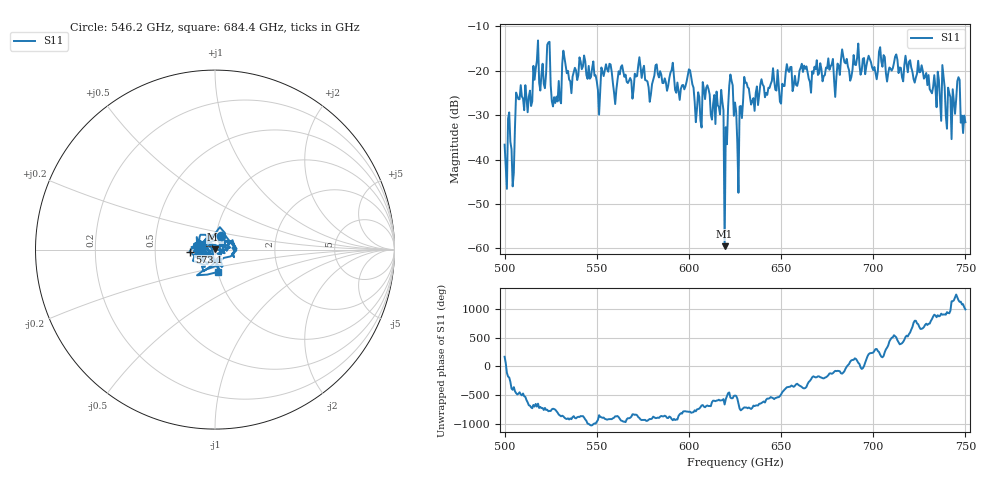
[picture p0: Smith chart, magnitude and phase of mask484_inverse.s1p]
!Created with skrf (http://scikit-rf.org).
# GHz S MA R 50.0
!freq magS11 angS11
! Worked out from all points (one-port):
!   401 points, 500 GHz to 750 GHz, reference 50 ohm
!   lowest |S11| = -59.5 dB at 619.4 GHz (marker M1), VSWR 1.00, Z = 50.1 + j0.0909 ohm
!   |S11| at or under -10 dB: start of sweep to end of sweep
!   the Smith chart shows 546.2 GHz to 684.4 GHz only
!   S11 on the Smith chart (normalised r, x): 546.2 GHz: 1.05, +0.16; 573.1 GHz: 0.75, -0.02; 684.4 GHz: 1.00, -0.25
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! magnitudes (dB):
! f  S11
! 500 GHz  -36.6
! 504.4 GHz  -46.0
! 507.5 GHz  -26.4
! 513.8 GHz  -24.5
! 516.9 GHz  -19.6
! 520.6 GHz  -18.4
! 523.8 GHz  -13.6
! 526.9 GHz  -25.9
! 531.2 GHz  -18.5
! 546.2 GHz  -21.8
! 562.5 GHz  -20.8
! 573.1 GHz  -16.9
! 593.8 GHz  -22.6
! 616.2 GHz  -28.2
! 619.4 GHz  -59.5
! 620.6 GHz  -36.5
! 622.5 GHz  -20.8
! 625 GHz  -27.1
! 627.5 GHz  -28.0
! 631.2 GHz  -22.7
! 634.4 GHz  -26.8
! 656.2 GHz  -24.6
! 684.4 GHz  -18.0
! 687.5 GHz  -22.2
! 718.8 GHz  -20.3
! 741.2 GHz  -25.0
! 745.6 GHz  -22.3
! 750 GHz  -31.6
